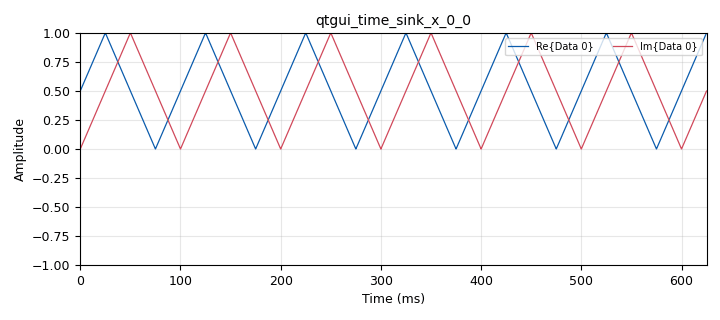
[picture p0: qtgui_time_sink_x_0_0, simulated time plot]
<?xml version='1.0' encoding='utf-8'?>
<?grc format='1' created='3.7.7'?>
<flow_graph>
<block>
<key>options</key>
<param><key>id</key><value>top_block</value></param>
<param><key>generate_options</key><value>qt_gui</value></param>
<param><key>category</key><value>Custom</value></param>
</block>
<block>
<key>variable</key>
<param><key>id</key><value>samp_rate</value></param>
<param><key>value</key><value>16000</value></param>
</block>
<block>
<key>dk_test_tag_filter</key>
<param><key>id</key><value>dk_test_tag_filter_0</value></param>
</block>
<block>
<key>blocks_throttle</key>
<param><key>id</key><value>blocks_throttle_0</value></param>
<param><key>type</key><value>complex</value></param>
<param><key>samples_per_second</key><value>samp_rate</value></param>
</block>
<block>
<key>blocks_tag_debug</key>
<param><key>id</key><value>blocks_tag_debug_0</value></param>
<param><key>_enabled</key><value>False</value></param>
<param><key>type</key><value>complex</value></param>
<param><key>filter</key><value>"tx_eob"</value></param>
</block>
<block>
<key>qtgui_time_sink_x</key>
<param><key>id</key><value>qtgui_time_sink_x_0</value></param>
<param><key>type</key><value>complex</value></param>
<param><key>size</key><value>10000</value></param>
<param><key>srate</key><value>samp_rate</value></param>
<param><key>label1</key><value></value></param>
<param><key>color1</key><value>"blue"</value></param>
<param><key>label2</key><value></value></param>
<param><key>color2</key><value>"red"</value></param>
</block>
<block>
<key>qtgui_time_sink_x</key>
<param><key>id</key><value>qtgui_time_sink_x_0_0</value></param>
<param><key>type</key><value>complex</value></param>
<param><key>size</key><value>10000</value></param>
<param><key>srate</key><value>samp_rate</value></param>
<param><key>label1</key><value></value></param>
<param><key>color1</key><value>"blue"</value></param>
<param><key>label2</key><value></value></param>
<param><key>color2</key><value>"red"</value></param>
</block>
<block>
<key>analog_sig_source_x</key>
<param><key>id</key><value>analog_sig_source_x_0</value></param>
<param><key>type</key><value>complex</value></param>
<param><key>samp_rate</key><value>samp_rate</value></param>
<param><key>waveform</key><value>analog.GR_TRI_WAVE</value></param>
<param><key>freq</key><value>10</value></param>
<param><key>amp</key><value>1</value></param>
<param><key>offset</key><value>0</value></param>
</block>
<block>
<key>dk_test_burster</key>
<param><key>id</key><value>dk_test_burster_0</value></param>
</block>
<connection><source_block_id>dk_test_burster_0</source_block_id><sink_block_id>dk_test_tag_filter_0</sink_block_id><source_key>0</source_key><sink_key>0</sink_key></connection>
<connection><source_block_id>dk_test_tag_filter_0</source_block_id><sink_block_id>qtgui_time_sink_x_0</sink_block_id><source_key>0</source_key><sink_key>0</sink_key></connection>
<connection><source_block_id>analog_sig_source_x_0</source_block_id><sink_block_id>blocks_throttle_0</sink_block_id><source_key>0</source_key><sink_key>0</sink_key></connection>
<connection><source_block_id>blocks_throttle_0</source_block_id><sink_block_id>dk_test_burster_0</sink_block_id><source_key>0</source_key><sink_key>0</sink_key></connection>
<connection><source_block_id>dk_test_burster_0</source_block_id><sink_block_id>blocks_tag_debug_0</sink_block_id><source_key>0</source_key><sink_key>0</sink_key></connection>
<connection><source_block_id>analog_sig_source_x_0</source_block_id><sink_block_id>qtgui_time_sink_x_0_0</sink_block_id><source_key>0</source_key><sink_key>0</sink_key></connection>
</flow_graph>
